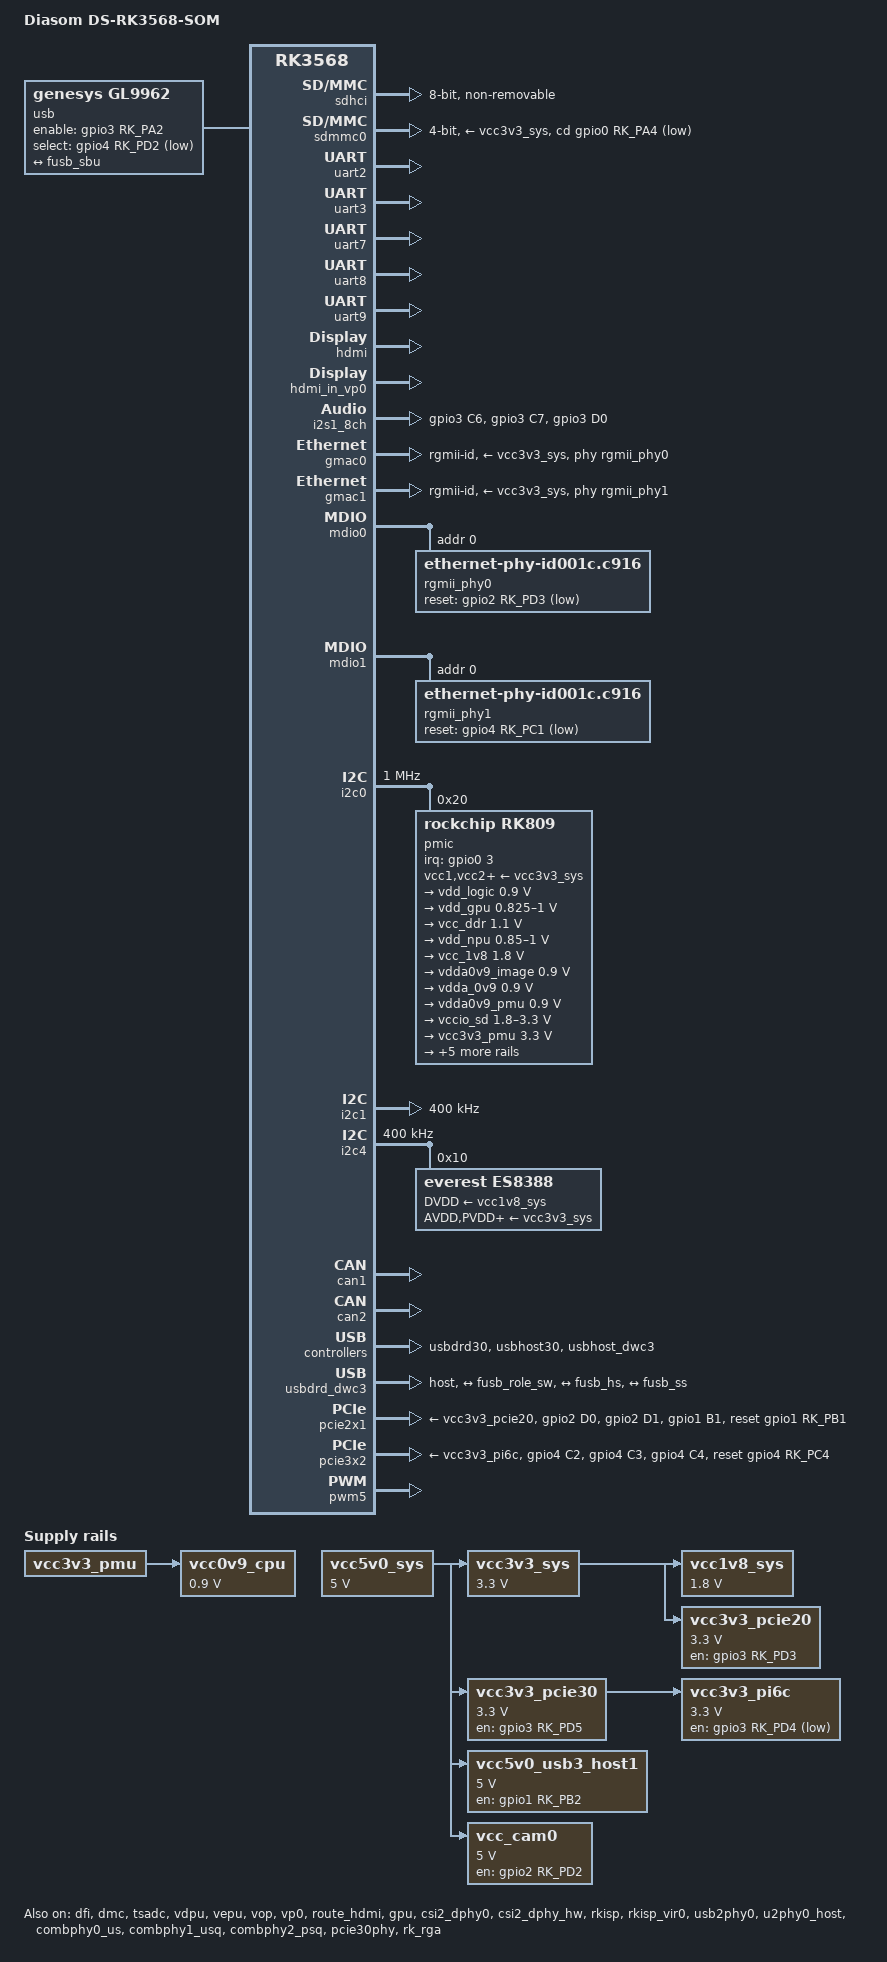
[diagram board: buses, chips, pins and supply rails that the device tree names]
/dts-v1/;

#include <dt-bindings/gpio/gpio.h>
#include <dt-bindings/pwm/pwm.h>
#include <dt-bindings/pinctrl/rockchip.h>
#include <dt-bindings/input/rk-input.h>
#include <dt-bindings/display/drm_mipi_dsi.h>
#include <dt-bindings/sensor-dev.h>
#include "dt-bindings/usb/pd.h"
#include "rk3568.dtsi"

/ {
    model = "Diasom DS-RK3568-SOM";
    compatible = "diasom,ds-rk3568-som", "rockchip,rk3568";

    aliases {
        mmc0 = &sdmmc0;
        mmc1 = &sdhci;
        can0 = &can1;
        can1 = &can2;
        ethernet0 = &gmac0;
        ethernet1 = &gmac1;
    };

	usb {
		pinctrl-names = "default";
		pinctrl-0 = <&usbmux_pins>;
		compatible = "genesys,gl9962", "gpio-sbu-mux";
		enable-gpios = <&gpio3 RK_PA2 GPIO_ACTIVE_HIGH>;
		select-gpios = <&gpio4 RK_PD2 GPIO_ACTIVE_LOW>;
		orientation-switch;
        status = "okay";

		port {
			typec_sbu: endpoint {
				remote-endpoint = <&fusb_sbu>;
			};
		};
	};

    vcc0v9_cpu: vcc0v9-cpu-regulator {
        compatible = "regulator-fixed";
        regulator-name = "0v9_cpu";
        regulator-always-on;
        regulator-boot-on;
        regulator-min-microvolt = <900000>;
        regulator-max-microvolt = <900000>;
        vin-supply = <&vcc3v3_pmu>;
    };

    vcc1v8_sys: vcc1v8-sys-regulator {
        compatible = "regulator-fixed";
        regulator-name = "1v8_sys";
        regulator-always-on;
        regulator-boot-on;
        regulator-min-microvolt = <1800000>;
        regulator-max-microvolt = <1800000>;
        vin-supply = <&vcc3v3_sys>;
    };

    vcc3v3_sys: vcc3v3-sys-regulator {
        compatible = "regulator-fixed";
        regulator-name = "3v3_sys";
        regulator-always-on;
        regulator-boot-on;
        regulator-min-microvolt = <3300000>;
        regulator-max-microvolt = <3300000>;
        vin-supply = <&vcc5v0_sys>;
    };

    vcc3v3_pcie20: vcc3v3-pcie20-pwr-regulator {
        pinctrl-0 = <&pcie20_pwr_pins>;
        pinctrl-names = "default";
        compatible = "regulator-fixed";
        enable-active-high;
        gpio = <&gpio3 RK_PD3 GPIO_ACTIVE_HIGH>;
        regulator-name = "3v3_pcie20";
        regulator-min-microvolt = <3300000>;
        regulator-max-microvolt = <3300000>;
        startup-delay-us = <20000>;
        vin-supply = <&vcc3v3_sys>;
    };

    vcc3v3_pcie30: vcc3v3-pcie30-regulator {
        pinctrl-0 = <&pcie30_pwr_pins>;
        pinctrl-names = "default";
        compatible = "regulator-fixed";
        enable-active-high;
        gpio = <&gpio3 RK_PD5 GPIO_ACTIVE_HIGH>;
        regulator-name = "3v3_pcie30";
        regulator-min-microvolt = <3300000>;
        regulator-max-microvolt = <3300000>;
        startup-delay-us = <20000>;
        vin-supply = <&vcc5v0_sys>;
    };

    vcc3v3_pi6c: vcc3v3-pi6c-regulator {
        pinctrl-0 = <&pcie30_oe_pins>;
        pinctrl-names = "default";
        compatible = "regulator-fixed";
        /* Fixup for PCI-e in the bootloader */
        regulator-boot-on;
        gpio = <&gpio3 RK_PD4 GPIO_ACTIVE_LOW>;
        regulator-name = "3v3_pi6c";
        regulator-min-microvolt = <3300000>;
        regulator-max-microvolt = <3300000>;
        startup-delay-us = <20000>;
        vin-supply = <&vcc3v3_pcie30>;
    };

    vcc5v0_sys: vcc5v0-sys-regulator {
        compatible = "regulator-fixed";
        regulator-name = "5v0_sys";
        regulator-always-on;
        regulator-boot-on;
        regulator-min-microvolt = <5000000>;
        regulator-max-microvolt = <5000000>;
    };

    vcc5v0_usb3_host1: vcc5v0-usb3-host1-regulator {
        pinctrl-names = "default";
        pinctrl-0 = <&usb3_host1_en_pins>;
        compatible = "regulator-fixed";
        enable-active-high;
        gpio = <&gpio1 RK_PB2 GPIO_ACTIVE_HIGH>;
        regulator-name = "vcc5v0_usb3_host1";
        regulator-min-microvolt = <5000000>;
        regulator-max-microvolt = <5000000>;
        startup-delay-us = <20000>;
        vin-supply = <&vcc5v0_sys>;
    };

    vcc5v0_usb3_otg0: vcc5v0-usb3-otg0-regulator {
        compatible = "regulator-fixed";
        regulator-name = "vcc5v0_usb3_otg0";
        regulator-min-microvolt = <5000000>;
        regulator-max-microvolt = <5000000>;
        startup-delay-us = <20000>;
        vin-supply = <&vcc5v0_sys>;
        status = "disabled";
    };

    vcc_cam0: vcc-cam0-regulator {
        pinctrl-names = "default";
        pinctrl-0 = <&csi0_pwr>;
        compatible = "regulator-fixed";
        /* Used by RAW probe for cameras connected via I2C */
        regulator-boot-on;
        enable-active-high;
        gpio = <&gpio2 RK_PD2 GPIO_ACTIVE_HIGH>;
        regulator-name = "vcc_cam0";
        regulator-min-microvolt = <5000000>;
        regulator-max-microvolt = <5000000>;
        startup-delay-us = <250000>;
        vin-supply = <&vcc5v0_sys>;
    };

    sound0: es8388-sound {
        compatible = "simple-audio-card";
        simple-audio-card,name = "ES8388";
        simple-audio-card,format = "i2s";
        simple-audio-card,bitclock-master = <&es8388_master>;
        simple-audio-card,frame-master = <&es8388_master>;

        es8388_master: simple-audio-card,cpu {
            sound-dai = <&i2s1_8ch>;
        };

        simple-audio-card,codec {
            sound-dai = <&es8388>;
        };
    };
};

/delete-node/ &xin32k;

&cpu0 {
	cpu-supply = <&vcc0v9_cpu>;
};

&cpu1 {
	cpu-supply = <&vcc0v9_cpu>;
};

&cpu2 {
	cpu-supply = <&vcc0v9_cpu>;
};

&cpu3 {
	cpu-supply = <&vcc0v9_cpu>;
};

&dfi {
    status = "okay";
};

&dmc {
    status = "okay";
};

&cpu0_opp_table {
    /delete-node/ opp-1416000000;
	/delete-node/ opp-1608000000;
	/delete-node/ opp-1800000000;
	/delete-node/ opp-1992000000;
};

&pmu_io_domains {
    status = "okay";
    pmuio1-supply = <&vcc3v3_pmu>;
    pmuio2-supply = <&vcc3v3_pmu>;
    vccio1-supply = <&vcc_1v8>;
    vccio2-supply = <&vcc_1v8>;
    vccio3-supply = <&vccio_sd>;
    vccio4-supply = <&vcc_1v8>;
    vccio5-supply = <&vcc_1v8>;
    vccio6-supply = <&vcc_1v8>;
    vccio7-supply = <&vcc_3v3_sw1>;
};

&sdhci {
    pinctrl-names = "default";
    pinctrl-0 = <&emmc_bus8 &emmc_clk &emmc_cmd &emmc_datastrobe &emmc_rstnout>;
    bus-width = <8>;
    no-sdio;
    no-sd;
    non-removable;
    max-frequency = <200000000>;
    status = "okay";
};

&sdmmc0 {
    pinctrl-names = "default";
    pinctrl-0 = <&sdmmc0_bus4 &sdmmc0_clk &sdmmc0_cmd &sdmmc0_det>;
    bus-width = <4>;
    cap-mmc-highspeed;
    cap-sd-highspeed;
    cd-gpios = <&gpio0 RK_PA4 GPIO_ACTIVE_LOW>;
    disable-wp;
    sd-uhs-sdr104;
    vmmc-supply = <&vcc3v3_sys>;
    vqmmc-supply = <&vccio_sd>;
    status = "okay";
};

&tsadc {
	rockchip,hw-tshut-temp = <95000>;
	rockchip,hw-tshut-mode = <0>;
	rockchip,hw-tshut-polarity = <0>;
	status = "okay";
};

&uart2 {
    status = "okay";
};

&uart3 {
    /*pinctrl-0 = <&uart3m1_xfer &uart3m0_ctsn &uart3m0_rtsn>;*/
    pinctrl-0 = <&uart3m1_xfer>;
    status = "okay";
};

&uart7 {
    /*pinctrl-0 = <&uart7m1_xfer &uart7m0_ctsn &uart7m0_rtsn>;*/
    pinctrl-0 = <&uart7m1_xfer>;
    status = "okay";
};

&uart8 {
    /*pinctrl-0 = <&uart8m0_xfer &uart8m0_ctsn &uart8m0_rtsn>;*/
    pinctrl-0 = <&uart8m0_xfer>;
    status = "okay";
};

&uart9 {
    pinctrl-0 = <&uart9m1_xfer>;
    status = "okay";
};

&vdpu {
    status = "okay";
};

&vdpu_mmu {
    status = "okay";
};

&vepu {
    status = "okay";
};

&vepu_mmu {
    status = "okay";
};

&vop {
    status = "okay";
    assigned-clocks = <&cru DCLK_VOP0>, <&cru DCLK_VOP1>;
    assigned-clock-parents = <&pmucru PLL_HPLL>, <&cru PLL_VPLL>;
};

&vop_mmu {
    status = "okay";
};

&vp0 {
    status = "okay";
};

&vp1 {
    status = "disbled";
};

&vp2 {
    status = "disbled";
};

&hdmi {
    status = "okay";
    /*
    avdd-0v9-supply = <&vdda0v9_image>;
    avdd-1v8-supply = <&vcca1v8_image>;
    */
};

&hdmi_in_vp0 {
    status = "okay";
};

&route_hdmi {
    status = "okay";
    connect = <&vp0_out_hdmi>;
};

&gpu {
    status = "okay";
    mali-supply = <&vdd_gpu>;
};

&csi2_dphy0 {
    status = "okay";

    ports {
        #address-cells = <1>;
        #size-cells = <0>;

        port@0 {
            reg = <0>;
            #address-cells = <1>;
            #size-cells = <0>;

            xc7160_in: endpoint@0 {
                reg = <0>;
                data-lanes = <1 2 3 4>;
                remote-endpoint = <&xc7160_out>;
            };

            imx335_i2c4_in: endpoint@1 {
                reg = <1>;
                data-lanes = <1 2 3 4>;
                remote-endpoint = <&imx335_i2c4_out>;
            };

            /*
            imx335_i2c7_in: endpoint@2 {
                reg = <2>;
                data-lanes = <1 2>;
                remote-endpoint = <&imx335_i2c7_out>;
            };

            ub954_csi_in: endpoint@3 {
                reg = <3>;
                data-lanes = <1 2>;
                remote-endpoint = <&ub954_csi_out>;
            };
            */
        };

        port@1 {
            reg = <1>;

            csi_out: endpoint {
                remote-endpoint = <&isp_in>;
                data-lanes = <1 2 3 4>;
            };
        };
    };
};

&csi2_dphy_hw {
    status = "okay";
};

&rkisp {
    status = "okay";
};

&rkisp_mmu {
    status = "okay";
};

&rkisp_vir0 {
    status = "okay";
    port {
        #address-cells = <1>;
        #size-cells = <0>;

        isp_in: endpoint@0 {
            reg = <0>;
            remote-endpoint = <&csi_out>;
        };
    };
};

&i2s1_8ch {
    /* I2S Sound */
    pinctrl-0 = <
        &i2s1_pins
        &i2s1m1_sdo0		/* I2S1_SDO0 */
        &i2s1m1_sdi0		/* I2S1_SDI0 */
    >;
    rockchip,trcm-sync-tx-only;
    status = "okay";
};

&gmac0 {
    assigned-clocks = <&cru SCLK_GMAC0_RX_TX>, <&cru SCLK_GMAC0>;
    assigned-clock-parents = <&cru SCLK_GMAC0_RGMII_SPEED>;
    assigned-clock-rates = <0>, <125000000>;
    pinctrl-names = "default";
    pinctrl-0 = <&gmac0_miim &gmac0_tx_bus2 &gmac0_rx_bus2 &gmac0_rgmii_clk &gmac0_rgmii_bus>;
    clock_in_out = "output";
    phy-handle = <&rgmii_phy0>;
    phy-mode = "rgmii-id";
    phy-supply = <&vcc3v3_sys>;
    status = "okay";
};

&gmac1 {
    assigned-clocks = <&cru SCLK_GMAC1_RX_TX>, <&cru SCLK_GMAC1>;
    assigned-clock-parents = <&cru SCLK_GMAC1_RGMII_SPEED>;
    assigned-clock-rates = <0>, <125000000>;
    pinctrl-names = "default";
    pinctrl-0 = <&gmac1m1_miim &gmac1m1_tx_bus2 &gmac1m1_rx_bus2 &gmac1m1_rgmii_clk &gmac1m1_rgmii_bus>;
    clock_in_out = "output";
    phy-handle = <&rgmii_phy1>;
    phy-mode = "rgmii-id";
    phy-supply = <&vcc3v3_sys>;
    status = "okay";
};

&mdio0 {
    rgmii_phy0: phy@0 {
        /* RTL8211F */
        pinctrl-names = "default";
        pinctrl-0 = <&gmac0_rst_pins>;
        compatible = "ethernet-phy-id001c.c916", "ethernet-phy-ieee802.3-c22";
        reg = <0x0>;
        reset-assert-us = <20000>;
        reset-deassert-us = <100000>;
        reset-gpios = <&gpio2 RK_PD3 GPIO_ACTIVE_LOW>;
    };
};

&mdio1 {
    rgmii_phy1: phy@0 {
        /* RTL8211F */
        pinctrl-names = "default";
        pinctrl-0 = <&gmac1_rst_pins>;
        compatible = "ethernet-phy-id001c.c916",
                "ethernet-phy-ieee802.3-c22";
        reg = <0x0>;
        reset-assert-us = <20000>;
        reset-deassert-us = <100000>;
        reset-gpios = <&gpio4 RK_PC1 GPIO_ACTIVE_LOW>;
    };
};

&i2c0 {
    clock-frequency = <1000000>;
    status = "okay";

    pmic@20 {
        compatible = "rockchip,rk809";
        reg = <0x20>;
        interrupt-parent = <&gpio0>;
        interrupts = <3 IRQ_TYPE_LEVEL_LOW>;
        pinctrl-names = "default";
        pinctrl-0 = <&pmic_int>;
        rockchip,system-power-controller;
        wakeup-source;
        #clock-cells = <1>;
        clock-output-names = "rk808-clkout1", "rk808-clkout2";

        vcc1-supply = <&vcc3v3_sys>;
        vcc2-supply = <&vcc3v3_sys>;
        vcc3-supply = <&vcc3v3_sys>;
        vcc4-supply = <&vcc3v3_sys>;
        vcc5-supply = <&vcc3v3_sys>;
        vcc6-supply = <&vcc3v3_sys>;
        vcc7-supply = <&vcc3v3_sys>;
        vcc8-supply = <&vcc3v3_sys>;
        vcc9-supply = <&vcc3v3_sys>;

        regulators {
            vdd_logic: DCDC_REG1 {
                regulator-always-on;
                regulator-boot-on;
                regulator-min-microvolt = <900000>;
                regulator-max-microvolt = <900000>;
                regulator-init-microvolt = <900000>;
                regulator-ramp-delay = <6001>;
                regulator-initial-mode = <0x2>;
                regulator-name = "vdd_logic";
                regulator-state-mem {
                    regulator-off-in-suspend;
                };
            };

            vdd_gpu: DCDC_REG2 {
                regulator-always-on;
                regulator-boot-on;
                regulator-min-microvolt = <825000>;
                regulator-max-microvolt = <1000000>;
                regulator-init-microvolt = <900000>;
                regulator-ramp-delay = <6001>;
                regulator-initial-mode = <0x2>;
                regulator-name = "vdd_gpu";
                regulator-state-mem {
                    regulator-off-in-suspend;
                };
            };

            vcc_ddr: DCDC_REG3 {
                regulator-always-on;
                regulator-boot-on;
                regulator-initial-mode = <0x2>;
                regulator-name = "vcc_ddr";
                regulator-min-microvolt = <1100000>;
                regulator-max-microvolt = <1100000>;
                regulator-state-mem {
                    regulator-off-in-suspend;
                };
            };

            vdd_npu: DCDC_REG4 {
                regulator-always-on;
                regulator-boot-on;
                regulator-min-microvolt = <850000>;
                regulator-max-microvolt = <1000000>;
                regulator-ramp-delay = <6001>;
                regulator-initial-mode = <0x2>;
                regulator-name = "vdd_npu";
                regulator-state-mem {
                    regulator-off-in-suspend;
                };
            };

            vcc_1v8: DCDC_REG5 {
                regulator-name = "vcc_1v8";
                regulator-always-on;
                regulator-boot-on;
                regulator-min-microvolt = <1800000>;
                regulator-max-microvolt = <1800000>;
                regulator-state-mem {
                    regulator-off-in-suspend;
                };
            };

            vdda0v9_image: LDO_REG1 {
                regulator-name = "vdda0v9_image";
                regulator-always-on;
                regulator-boot-on;
                regulator-min-microvolt = <900000>;
                regulator-max-microvolt = <900000>;
                regulator-state-mem {
                    regulator-off-in-suspend;
                };
            };

            vdda_0v9: LDO_REG2 {
                regulator-name = "vdda_0v9";
                regulator-always-on;
                regulator-boot-on;
                regulator-min-microvolt = <900000>;
                regulator-max-microvolt = <900000>;
                regulator-state-mem {
                    regulator-off-in-suspend;
                };
            };

            vdda0v9_pmu: LDO_REG3 {
                regulator-name = "vdda0v9_pmu";
                regulator-always-on;
                regulator-boot-on;
                regulator-min-microvolt = <900000>;
                regulator-max-microvolt = <900000>;
                regulator-state-mem {
                    regulator-off-in-suspend;
                };
            };

            vccio_sd: LDO_REG5 {
                regulator-name = "vccio_sd";
                regulator-always-on;
                regulator-boot-on;
                regulator-min-microvolt = <1800000>;
                regulator-max-microvolt = <3300000>;
                regulator-state-mem {
                    regulator-off-in-suspend;
                };
            };

            vcc3v3_pmu: LDO_REG6 {
                regulator-name = "vcc3v3_pmu";
                regulator-always-on;
                regulator-boot-on;
                regulator-min-microvolt = <3300000>;
                regulator-max-microvolt = <3300000>;
                regulator-state-mem {
                    regulator-on-in-suspend;
                    regulator-suspend-microvolt = <3300000>;
                };
            };

            vcca_1v8: LDO_REG7 {
                regulator-name = "vcca_1v8";
                regulator-always-on;
                regulator-boot-on;
                regulator-min-microvolt = <1800000>;
                regulator-max-microvolt = <1800000>;
                regulator-state-mem {
                    regulator-off-in-suspend;
                };
            };

            vcca1v8_pmu: LDO_REG8 {
                regulator-name = "vcca1v8_pmu";
                regulator-always-on;
                regulator-boot-on;
                regulator-min-microvolt = <1800000>;
                regulator-max-microvolt = <1800000>;
                regulator-state-mem {
                    regulator-on-in-suspend;
                    regulator-suspend-microvolt = <3300000>;
                };
            };

            vcca1v8_image: LDO_REG9 {
                regulator-name = "vcca1v8_image";
                regulator-always-on;
                regulator-boot-on;
                regulator-min-microvolt = <1800000>;
                regulator-max-microvolt = <1800000>;
                regulator-state-mem {
                    regulator-off-in-suspend;
                };
            };

            vcc_3v3_sw1: SWITCH_REG1 {
                regulator-name = "vcc_3v3_sw1";
                regulator-always-on;
                regulator-boot-on;
                regulator-min-microvolt = <3300000>;
                regulator-max-microvolt = <3300000>;
                regulator-state-mem {
                    regulator-off-in-suspend;
                };
            };

            vcc_3v3_sw2: SWITCH_REG2 {
                regulator-name = "vcc_3v3_sw2";
                regulator-always-on;
                regulator-boot-on;
                regulator-min-microvolt = <3300000>;
                regulator-max-microvolt = <3300000>;
                regulator-state-mem {
                    regulator-off-in-suspend;
                };
            };
        };
    };
};

&i2c1 {
    /* FUSB302 is not detected at 1MHz, so lets reduce frequency to 400KHz */
    clock-frequency = <400000>;
    status = "okay";

    typec: usb@22 {
        compatible = "fcs,fusb302";
        reg = <0x22>;
        vbus-supply = <&vcc5v0_usb3_otg0>;
        status = "disabled";

        connector {
            compatible = "usb-c-connector";
            data-role = "host";
            label = "USB-C";
            pd-disable;
            power-role = "source";
            typec-power-opmode = "default";

            source-pdos =
                <PDO_FIXED(5000, 1500, PDO_FIXED_USB_COMM)>;

            ports {
                #address-cells = <1>;
                #size-cells = <0>;

                port@0 {
                    /* HS */
                    reg = <0>;
                    fusb_hs: endpoint {
                        remote-endpoint = <&typec_hs>;
                    };
                };

                port@1 {
                    /* SS */
                    reg = <1>;
                    fusb_ss: endpoint {
                        remote-endpoint = <&typec_ss>;
                    };
                };

                port@2 {
                    /* Orientation Switch */
                    reg = <2>;
                    fusb_sbu: endpoint {
                        remote-endpoint = <&typec_sbu>;
                    };
                };
            };
        };

        port {
            /* Role switch */
            fusb_role_sw: endpoint {
                remote-endpoint = <&typec_role_sw>;
            };
        };
    };
};

&i2c4 {
    clock-frequency = <400000>;
    status = "okay";

    es8388: codec@10 {
        compatible = "everest,es8388";
        assigned-clocks = <&cru I2S1_MCLKOUT_TX>;
        assigned-clock-rates = <12288000>;
        assigned-clock-parents = <&cru CLK_I2S1_8CH_TX>;
        reg = <0x10>;
        clocks = <&cru I2S1_MCLKOUT_TX>;
        DVDD-supply = <&vcc1v8_sys>;
        AVDD-supply = <&vcc3v3_sys>;
        PVDD-supply = <&vcc3v3_sys>;
        HPVDD-supply = <&vcc3v3_sys>;

        #sound-dai-cells = <0>;
    };

    imx335_i2c4: camera@1a {
        compatible = "sony,imx335";
        reg = <0x1a>;
        clocks = <&xin24m>;
        power-domains = <&power RK3568_PD_VI>;
        avdd-supply = <&vcc_cam0>;
        dvdd-supply = <&vcc_cam0>;
        ovdd-supply = <&vcc_cam0>;
        status = "disabled";

        port {
            imx335_i2c4_out: endpoint {
                data-lanes = <1 2 3 4>;
                remote-endpoint = <&imx335_i2c4_in>;
                link-frequencies = /bits/ 64 <594000000>;
            };
        };
    };

    xc7160: camera@1b {
        pinctrl-names = "default";
        pinctrl-0 = <&cif_clk &csi0_rst>;
        compatible = "firefly,xc7160";
        reg = <0x1b>;
        clocks = <&cru CLK_CIF_OUT>;
        clock-names = "xvclk";
        power-domains = <&power RK3568_PD_VI>;
        reset-gpios = <&gpio3 RK_PB6 GPIO_ACTIVE_HIGH>;
        avdd-supply = <&vcc5v0_sys>;
        dovdd-supply = <&vcc5v0_sys>;
        dvdd-supply = <&vcc5v0_sys>;
        status = "disabled";

        port {
            xc7160_out: endpoint {
                data-lanes = <1 2 3 4>;
                remote-endpoint = <&xc7160_in>;
            };
        };

    };
};

&can1 {
    status = "okay";
    pinctrl-names = "default";
    pinctrl-0 = <&can1m0_pins>;
};

&can2 {
    status = "okay";
    pinctrl-names = "default";
    pinctrl-0 = <&can2m0_pins>;
};

&usbdrd30 {
    status = "okay";
};

&usbdrd_dwc3 {
    status = "okay";
    dr_mode = "host";
    
    port {
        typec_role_sw: endpoint {
            remote-endpoint = <&fusb_role_sw>;
        };
    };

    ports {
        #address-cells = <1>;
        #size-cells = <0>;

        port@0 {
            /* HS */
            reg = <0>;
            typec_hs: endpoint {
                remote-endpoint = <&fusb_hs>;
            };
        };

        port@1 {
            /* SS */
            reg = <1>;
            typec_ss: endpoint {
                remote-endpoint = <&fusb_ss>;
            };
        };
    };
};

&usbhost30 {
    status = "okay";
};

&usbhost_dwc3 {
    status = "okay";
};

&usb2phy0 {
    status = "okay";
};

&u2phy0_host {
    status = "okay";
    phy-supply = <&vcc5v0_usb3_host1>;
};

&combphy0_us {
    status = "okay";
};

&combphy1_usq {
    status = "okay";
};

&combphy2_psq {
    status = "okay";
    phy-supply = <&vcc3v3_pcie20>;
};

&pcie2x1 {
    pinctrl-names = "default";
    pinctrl-0 = <&pcie20_pins>;
    reset-gpios = <&gpio1 RK_PB1 GPIO_ACTIVE_HIGH>;
    vpcie3v3-supply = <&vcc3v3_pcie20>;
    status = "okay";
};

&pcie30phy {
    phy-supply = <&vcc3v3_pi6c>;
    status = "okay";
};

&pcie3x2 {
    pinctrl-names = "default";
    pinctrl-0 = <&pcie30_pins>;
    reset-gpios = <&gpio4 RK_PC4 GPIO_ACTIVE_HIGH>;
    vpcie3v3-supply = <&vcc3v3_pi6c>;
    status = "okay";
};

&pwm5 {
    status = "okay";
};

&rk_rga {
    status = "okay";
};

&spi1 {
    /*pinctrl-0 = <&spi1m1_pins_hs>;*/
    num-cs = <1>;
    status = "disabled";

    spi@0 {
        compatible = "rohm,dh2228fv";
        reg = <0>;
    };
};

&spi2 {
    /*pinctrl-0 = <&spi2m1_pins_hs>;*/
    num-cs = <2>;
    status = "disabled";

    spi@0 {
        compatible = "rohm,dh2228fv";
        reg = <0>;
    };

    spi@1 {
        compatible = "rohm,dh2228fv";
        reg = <1>;
    };
};

&pinctrl {
    pinctrl-0 = <&board_pins>;
    pinctrl-names = "default";

    board {
        board_pins: board-pins {
            rockchip,pins =
                <1 RK_PA4 RK_FUNC_GPIO &pcfg_pull_none>,		/* GPIO_1 */
                <1 RK_PA6 RK_FUNC_GPIO &pcfg_pull_none>,		/* GPIO_2 */
                <1 RK_PA7 RK_FUNC_GPIO &pcfg_pull_none>,		/* GPIO_3 */
                <1 RK_PB0 RK_FUNC_GPIO &pcfg_pull_none>,		/* GPIO_4 */
                <1 RK_PA3 RK_FUNC_GPIO &pcfg_pull_none>,        /* uart3m0_ctsn */
                <1 RK_PA2 RK_FUNC_GPIO &pcfg_pull_none>,        /* uart3m0_rtsn */
                <2 RK_PC2 RK_FUNC_GPIO &pcfg_pull_none>,        /* uart7m0_ctsn */
                <2 RK_PC1 RK_FUNC_GPIO &pcfg_pull_none>,        /* uart7m0_rtsn */
                <2 RK_PB2 RK_FUNC_GPIO &pcfg_pull_none>,        /* uart8m0_ctsn */
                <2 RK_PB1 RK_FUNC_GPIO &pcfg_pull_none>,        /* uart8m0_rtsn */
                <2 RK_PD5 RK_FUNC_GPIO &pcfg_pull_none>,        /* spi2m1_cs0_hs */
                <2 RK_PD4 RK_FUNC_GPIO &pcfg_pull_none>,        /* spi2m1_cs1_hs */
                <3 RK_PA1 RK_FUNC_GPIO &pcfg_pull_none>,        /* spi1m1_cs0_hs */
                <3 RK_PA0 RK_FUNC_GPIO &pcfg_pull_none>,        /* spi2_clk */
                <3 RK_PC3 RK_FUNC_GPIO &pcfg_pull_none>,        /* spi1_clk */
                <3 RK_PC2 RK_FUNC_GPIO &pcfg_pull_none>,        /* spi1_miso */
                <3 RK_PC1 RK_FUNC_GPIO &pcfg_pull_none>,        /* spi1_mosi */
                <2 RK_PD7 RK_FUNC_GPIO &pcfg_pull_none>,        /* spi2_miso */
                <2 RK_PD6 RK_FUNC_GPIO &pcfg_pull_none>;        /* spi2_mosi */
        };
    };

    pmic {
        pmic_int: pmic_int {
            rockchip,pins = 
                <0 RK_PA3 RK_FUNC_GPIO &pcfg_pull_up>;
        };
    };

    csi {
        csi0_pwr: csi0-pwr-pins {
            rockchip,pins =
                <2 RK_PD2 RK_FUNC_GPIO &pcfg_pull_up>;		/* CSI_PWREN0 */
        };

        csi0_rst: csi0-rst-pins {
            rockchip,pins =
                <3 RK_PB6 RK_FUNC_GPIO &pcfg_pull_up>;		/* CSI_RESET0# */
        };
    };

    i2s {
        i2s1_pins: i2s1-pins {
            rockchip,pins =
                <3 RK_PC6 4 &pcfg_pull_none_smt>,		/* I2S1_MCLK */
                <3 RK_PC7 4 &pcfg_pull_none_smt>,		/* I2S1_TX_SCLK */
                <3 RK_PD0 4 &pcfg_pull_none_smt>;		/* I2S1_TX_LRCK */
        };
    };

    net {
        gmac0_rst_pins: gmac0-rst-pins {
            rockchip,pins =
                <2 RK_PD3 RK_FUNC_GPIO &pcfg_pull_none>;	/* GMAC0_RST */
        };

        gmac1_rst_pins: gmac1-rst-pins {
            rockchip,pins =
                <4 RK_PC1 RK_FUNC_GPIO &pcfg_pull_none>;	/* GMAC1_RST */
        };
    };

    pcie20 {
        pcie20_pins: pcie20-pins {
            rockchip,pins =
                <2 RK_PD0 4 &pcfg_pull_none>,			/* PCIE20_CLKREQn_M1 */
                <2 RK_PD1 4 &pcfg_pull_none>,			/* PCIE20_WAKEn_M1 */
                <1 RK_PB1 RK_FUNC_GPIO &pcfg_pull_none>;	/* PCIE20_PERST */
        };

        pcie20_pwr_pins: pcie20-pwr-pins {
            rockchip,pins =
                <3 RK_PD3 RK_FUNC_GPIO &pcfg_pull_none>;	/* PCIE20_PWREN */
        };
    };

    pcie30 {
        pcie30_pins: pcie30-pins {
            rockchip,pins =
                <4 RK_PC2 4 &pcfg_pull_none>,			/* PCIE30X2_CLKREQn_M2 */
                <4 RK_PC3 4 &pcfg_pull_none>,			/* PCIE30X2_WAKEn_M2 */
                <4 RK_PC4 RK_FUNC_GPIO &pcfg_pull_up>;		/* PCIE30X2_PERSTn_M2 */
        };

        pcie30_oe_pins: pcie30-oe-pins {
            rockchip,pins =
                <3 RK_PD4 RK_FUNC_GPIO &pcfg_pull_up>;		/* PCIECLKIC_OE */
        };

        pcie30_pwr_pins: pcie30-pwr-pins {
            rockchip,pins =
                <3 RK_PD5 RK_FUNC_GPIO &pcfg_pull_up>;		/* PCIE30_PWREN */
        };
    };

    usb {
        usb3_host1_en_pins: usb3-host1-en-pins {
            rockchip,pins =
                <1 RK_PB2 RK_FUNC_GPIO &pcfg_pull_none>;	/* USB3_HOST1_EN */
        };

        usb3_otg0_en_pins: usb3-otg0-en-pins {
            rockchip,pins =
                <1 RK_PA5 RK_FUNC_GPIO &pcfg_pull_none>;	/* USB3_OTG0_EN */
        };
    };

	usbmux {
		usbmux_pins: usbmux-pins {
			rockchip,pins =
				<4 RK_PD2 RK_FUNC_GPIO &pcfg_pull_up>,		/* USB3_OTG0_SEL */
				<3 RK_PA2 RK_FUNC_GPIO &pcfg_pull_none>;	/* Unused */
		};
	};    
};
